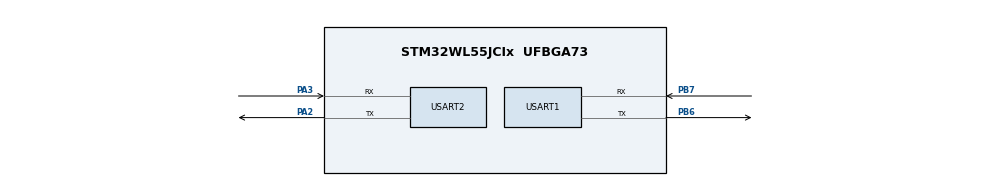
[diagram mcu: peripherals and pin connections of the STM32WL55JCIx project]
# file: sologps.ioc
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Mcu.Family=STM32WL
Mcu.Name=STM32WL55JCIx
Mcu.Package=UFBGA73
NVIC.PriorityGroup=NVIC_PRIORITYGROUP_4
NVIC.USART1_IRQn=true\:0\:0\:false\:false\:true\:true\:true\:true
NVIC.USART2_IRQn=true\:0\:0\:false\:false\:true\:true\:true\:true
PA2.Mode=Asynchronous
PA2.Signal=USART2_TX
PA3.Mode=Asynchronous
PA3.Signal=USART2_RX
PB6.Mode=Asynchronous
PB6.Signal=USART1_TX
PB7.Mode=Asynchronous
PB7.Signal=USART1_RX
ProjectManager.HeapSize=0x200
ProjectManager.StackSize=0x400
ProjectManager.TargetToolchain=STM32CubeIDE
RCC.HSE_VALUE=8000000
RCC.HSI_VALUE=16000000
RCC.LSE_VALUE=32768
RCC.VCOOutputFreq_Value=32000000
USART1.VirtualMode-Asynchronous=VM_ASYNC
USART2.VirtualMode-Asynchronous=VM_ASYNC
board=custom

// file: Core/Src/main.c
/* USER CODE BEGIN Header */

/**

 ******************************************************************************

 * @file : main.c

 * @brief : Main program body

 ******************************************************************************

 * @attention

 *

 * Copyright (c) 2026 STMicroelectronics.

 * All rights reserved.

 *

 * This software is licensed under terms that can be found in the LICENSE file

 * in the root directory of this software component.

 * If no LICENSE file comes with this software, it is provided AS-IS.

 *

 ******************************************************************************

 */

/* USER CODE END Header */
#include "main.h"

/* USER CODE BEGIN Includes */
#include <string.h>
#include <stdio.h>
#include "gps_parser.h"
/* USER CODE END Includes */

UART_HandleTypeDef huart1;
UART_HandleTypeDef huart2;

/* USER CODE BEGIN PV */
TelemetriaGPS_t datos_vuelo;
uint8_t rx_data;
char buffer_rx[100];             // Variable real, sin extern
char buffer_procesamiento[100];  // NUEVO: El que usa el main() de forma segura
uint8_t flag_linea_lista = 0;    // Variable real, inicializada en 0
volatile uint16_t rx_head = 0;   // Índice de escritura para tu buffer de línea
/* USER CODE END PV */

void SystemClock_Config(void);
static void MX_GPIO_Init(void);
static void MX_USART1_UART_Init(void);
static void MX_USART2_UART_Init(void);

/* USER CODE BEGIN 0 */
void UART_Print(const char *msg) {
	HAL_UART_Transmit(&huart2, (uint8_t*) msg, strlen(msg), HAL_MAX_DELAY);
}
/* USER CODE END 0 */

int main(void)
{

  /* MCU Configuration--------------------------------------------------------*/

  /* Reset of all peripherals, Initializes the Flash interface and the Systick. */
  HAL_Init();

  /* Configure the system clock */
  SystemClock_Config();

  /* Initialize all configured peripherals */
  MX_GPIO_Init();
  MX_USART1_UART_Init();
  MX_USART2_UART_Init();
  GPS_Init(&datos_vuelo);
  /* USER CODE BEGIN 2 */

	HAL_UART_Receive_IT(&huart1, &rx_data, 1);
  /* USER CODE END 2 */

  /* Infinite loop */
  /* USER CODE BEGIN WHILE */

	while (1) {
	    // ¿La UART nos avisó que ya terminó de armar una línea NMEA completa?
	    if (flag_linea_lista == 1)
	    {
	    	char debug_msg[120];
	    	          sprintf(debug_msg, "RAW: %s\r\n", buffer_procesamiento);
	    	          UART_Print(debug_msg);
	    	UART_Print("Linea lista\r\n");
	        flag_linea_lista = 0;
	        GPS_ParseSentence(&datos_vuelo, buffer_procesamiento);

	        // 3. Verificamos si los datos son válidos y los usamos
	        if (datos_vuelo.fix_valido)
	        {
	        	char buffer_uart[100];
	        	sprintf(buffer_uart, "Lat: %.6f | Lon: %.6f | Alt: %.2f m\r\n", datos_vuelo.latitud, datos_vuelo.longitud, datos_vuelo.altitud);
	        	UART_Print(buffer_uart);
	        }else{
	        	UART_Print(".");
	        }
	}
    /* USER CODE END WHILE */

	}
}

void SystemClock_Config(void)
{
  RCC_OscInitTypeDef RCC_OscInitStruct = {0};
  RCC_ClkInitTypeDef RCC_ClkInitStruct = {0};

  /** Configure the main internal regulator output voltage
  */
  __HAL_PWR_VOLTAGESCALING_CONFIG(PWR_REGULATOR_VOLTAGE_SCALE2);

  /** Initializes the CPU, AHB and APB buses clocks
  */
  RCC_OscInitStruct.OscillatorType = RCC_OSCILLATORTYPE_MSI;
  RCC_OscInitStruct.MSIState = RCC_MSI_ON;
  RCC_OscInitStruct.MSICalibrationValue = RCC_MSICALIBRATION_DEFAULT;
  RCC_OscInitStruct.MSIClockRange = RCC_MSIRANGE_6;
  RCC_OscInitStruct.PLL.PLLState = RCC_PLL_NONE;
  if (HAL_RCC_OscConfig(&RCC_OscInitStruct) != HAL_OK)
  {
    Error_Handler();
  }

  /** Configure the SYSCLKSource, HCLK, PCLK1 and PCLK2 clocks dividers
  */
  RCC_ClkInitStruct.ClockType = RCC_CLOCKTYPE_HCLK3|RCC_CLOCKTYPE_HCLK
                              |RCC_CLOCKTYPE_SYSCLK|RCC_CLOCKTYPE_PCLK1
                              |RCC_CLOCKTYPE_PCLK2;
  RCC_ClkInitStruct.SYSCLKSource = RCC_SYSCLKSOURCE_MSI;
  RCC_ClkInitStruct.AHBCLKDivider = RCC_SYSCLK_DIV1;
  RCC_ClkInitStruct.APB1CLKDivider = RCC_HCLK_DIV1;
  RCC_ClkInitStruct.APB2CLKDivider = RCC_HCLK_DIV1;
  RCC_ClkInitStruct.AHBCLK3Divider = RCC_SYSCLK_DIV1;

  if (HAL_RCC_ClockConfig(&RCC_ClkInitStruct, FLASH_LATENCY_0) != HAL_OK)
  {
    Error_Handler();
  }
}

static void MX_USART1_UART_Init(void)
{

  huart1.Instance = USART1;
  huart1.Init.BaudRate = 115200;
  huart1.Init.WordLength = UART_WORDLENGTH_8B;
  huart1.Init.StopBits = UART_STOPBITS_1;
  huart1.Init.Parity = UART_PARITY_NONE;
  huart1.Init.Mode = UART_MODE_TX_RX;
  huart1.Init.HwFlowCtl = UART_HWCONTROL_NONE;
  huart1.Init.OverSampling = UART_OVERSAMPLING_16;
  huart1.Init.OneBitSampling = UART_ONE_BIT_SAMPLE_DISABLE;
  huart1.Init.ClockPrescaler = UART_PRESCALER_DIV1;
  huart1.AdvancedInit.AdvFeatureInit = UART_ADVFEATURE_NO_INIT;
  if (HAL_UART_Init(&huart1) != HAL_OK)
  {
    Error_Handler();
  }
  if (HAL_UARTEx_SetTxFifoThreshold(&huart1, UART_TXFIFO_THRESHOLD_1_8) != HAL_OK)
  {
    Error_Handler();
  }
  if (HAL_UARTEx_SetRxFifoThreshold(&huart1, UART_RXFIFO_THRESHOLD_1_8) != HAL_OK)
  {
    Error_Handler();
  }
  if (HAL_UARTEx_DisableFifoMode(&huart1) != HAL_OK)
  {
    Error_Handler();
  }

}

static void MX_USART2_UART_Init(void)
{

  huart2.Instance = USART2;
  huart2.Init.BaudRate = 115200;
  huart2.Init.WordLength = UART_WORDLENGTH_8B;
  huart2.Init.StopBits = UART_STOPBITS_1;
  huart2.Init.Parity = UART_PARITY_NONE;
  huart2.Init.Mode = UART_MODE_TX_RX;
  huart2.Init.HwFlowCtl = UART_HWCONTROL_NONE;
  huart2.Init.OverSampling = UART_OVERSAMPLING_16;
  huart2.Init.OneBitSampling = UART_ONE_BIT_SAMPLE_DISABLE;
  huart2.Init.ClockPrescaler = UART_PRESCALER_DIV1;
  huart2.AdvancedInit.AdvFeatureInit = UART_ADVFEATURE_NO_INIT;
  if (HAL_UART_Init(&huart2) != HAL_OK)
  {
    Error_Handler();
  }
  if (HAL_UARTEx_SetTxFifoThreshold(&huart2, UART_TXFIFO_THRESHOLD_1_8) != HAL_OK)
  {
    Error_Handler();
  }
  if (HAL_UARTEx_SetRxFifoThreshold(&huart2, UART_RXFIFO_THRESHOLD_1_8) != HAL_OK)
  {
    Error_Handler();
  }
  if (HAL_UARTEx_DisableFifoMode(&huart2) != HAL_OK)
  {
    Error_Handler();
  }

}

static void MX_GPIO_Init(void)
{

  /* GPIO Ports Clock Enable */
  __HAL_RCC_GPIOB_CLK_ENABLE();
  __HAL_RCC_GPIOA_CLK_ENABLE();

}

/* USER CODE BEGIN 4 */

void HAL_UART_RxCpltCallback(UART_HandleTypeDef *huart)
{
    // === SI EL DATO VIENE DEL GPS (USART1) ===
    if (huart->Instance == USART1)
    {
        // 1. Si el byte NO es un salto de línea (\n) ni un retorno de carro (\r)
        if (rx_data != '\n' && rx_data != '\r')
        {
            buffer_rx[rx_head] = rx_data; // Guardamos el caracter
            rx_head++;

            // Protección: Si por algún error de ruido la línea es larguísima,
            // evitamos escribir fuera de la memoria (Buffer Overflow)
            if (rx_head >= 100)
            {
                rx_head = 0;
            }
        }
        // 2. Si el byte ES el salto de línea (terminó de llegar la trama)
        else if (rx_data == '\n')
        {
            buffer_rx[rx_head] = '\0'; // Fundamental: Cerramos el string al estilo C

            // Solo levantamos la bandera si realmente guardamos algo
            if (rx_head > 0)
            {
            	strncpy(buffer_procesamiento, buffer_rx, 100);
                flag_linea_lista = 1;  // ¡Le avisamos al while(1) que hay trabajo!
            }

            rx_head = 0; // Reiniciamos el índice para la trama que sigue
        }

        // 3. Volver a escuchar al GPS inmediatamente (rearmar interrupción)
        HAL_UART_Receive_IT(&huart1, &rx_data, 1);
    }
}

// === ESCUDO CONTRA EL OVERRUN ERROR ===

void HAL_UART_ErrorCallback(UART_HandleTypeDef *huart){

	if (huart->Instance == USART1){

// Limpiar la bandera de Overrun Error para destrabar el periférico

		__HAL_UART_CLEAR_OREFLAG(huart);

// Volver a armar la interrupción para revivir la escucha

		HAL_UART_Receive_IT(&huart1, &rx_data, 1);
	}
}

/* USER CODE END 4 */

void Error_Handler(void)
{
	__disable_irq();
	while (1)
	{
	}
}
